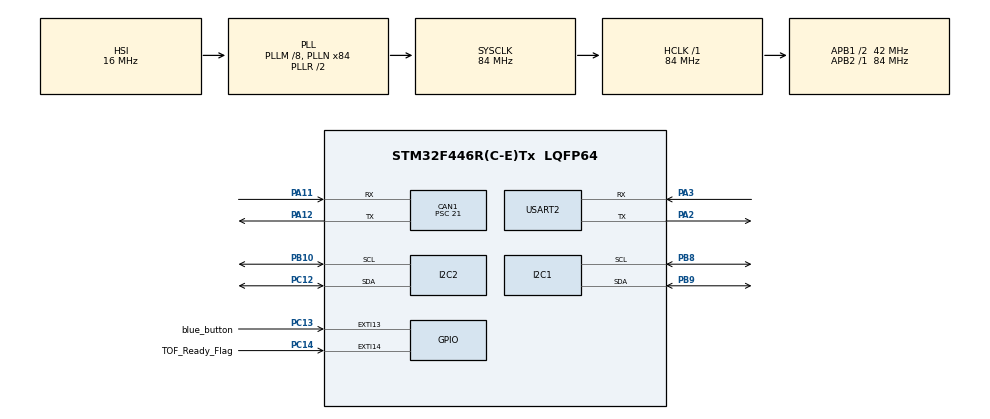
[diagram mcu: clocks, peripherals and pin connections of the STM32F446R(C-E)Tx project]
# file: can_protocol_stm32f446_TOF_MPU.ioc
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CAN1.BS1=CAN_BS1_14TQ
CAN1.BS2=CAN_BS2_5TQ
CAN1.CalculateBaudRate=100000
CAN1.CalculateTimeBit=10000
CAN1.CalculateTimeQuantum=500.0
CAN1.NART=ENABLE
CAN1.Prescaler=21
I2C1.I2C_Mode=I2C_Standard
I2C1.NoStretchMode=I2C_NOSTRETCH_DISABLE
I2C1.OwnAddress=0
Mcu.Family=STM32F4
Mcu.Name=STM32F446R(C-E)Tx
Mcu.Package=LQFP64
NVIC.CAN1_RX0_IRQn=true\:0\:0\:false\:false\:true\:true\:true\:true
NVIC.EXTI15_10_IRQn=true\:0\:0\:false\:false\:true\:true\:true\:true
NVIC.I2C1_EV_IRQn=true\:0\:0\:false\:false\:true\:true\:true\:true
NVIC.PriorityGroup=NVIC_PRIORITYGROUP_4
PA11.Mode=CAN_Activate
PA11.Signal=CAN1_RX
PA12.Mode=CAN_Activate
PA12.Signal=CAN1_TX
PA2.Mode=Asynchronous
PA2.Signal=USART2_TX
PA3.Mode=Asynchronous
PA3.Signal=USART2_RX
PB10.Mode=I2C
PB10.Signal=I2C2_SCL
PB8.Mode=I2C
PB8.Signal=I2C1_SCL
PB9.Mode=I2C
PB9.Signal=I2C1_SDA
PC12.Mode=I2C
PC12.Signal=I2C2_SDA
PC13.GPIO_Label=blue_button
PC13.GPIO_ModeDefaultEXTI=GPIO_MODE_IT_FALLING
PC13.GPIO_PuPd=GPIO_PULLUP
PC13.Signal=GPXTI13
PC14-OSC32_IN.GPIO_Label=TOF_Ready_Flag
PC14-OSC32_IN.GPIO_ModeDefaultEXTI=GPIO_MODE_IT_FALLING
PC14-OSC32_IN.GPIO_PuPd=GPIO_NOPULL
PC14-OSC32_IN.Signal=GPXTI14
ProjectManager.HeapSize=0x200
ProjectManager.StackSize=0x400
ProjectManager.TargetToolchain=STM32CubeIDE
RCC.AHBFreq_Value=84000000
RCC.APB1CLKDivider=RCC_HCLK_DIV2
RCC.APB1Freq_Value=42000000
RCC.APB1TimFreq_Value=84000000
RCC.APB2Freq_Value=84000000
RCC.APB2TimFreq_Value=84000000
RCC.CortexFreq_Value=84000000
RCC.HCLKFreq_Value=84000000
RCC.PLLM=8
RCC.PLLN=84
RCC.SYSCLKFreq_VALUE=84000000
RCC.SYSCLKSource=RCC_SYSCLKSOURCE_PLLRCLK
RCC.USBFreq_Value=84000000
RCC.VCOOutputFreq_Value=168000000
USART2.VirtualMode=VM_ASYNC
board=custom

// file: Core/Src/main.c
/* USER CODE BEGIN Header */
/**
  ******************************************************************************
  * @file           : main.c
  * @brief          : Main program body
  ******************************************************************************
  * @attention
  *
  * Copyright (c) 2025 STMicroelectronics.
  * All rights reserved.
  *
  * This software is licensed under terms that can be found in the LICENSE file
  * in the root directory of this software component.
  * If no LICENSE file comes with this software, it is provided AS-IS.
  *
  ******************************************************************************
  */
/* USER CODE END Header */
#include "main.h"

/* USER CODE BEGIN Includes */
#include <stdio.h>
#include <math.h>
#include "vl53l0x_api.h"
#include "vl53l0x_platform.h"
#include "MPU9250.h"
/* USER CODE END Includes */

/* USER CODE BEGIN PD */
#ifdef __GNUC__
/* With GCC, small printf (option LD Linker->Libraries->Small printf
   set to 'Yes') calls __io_putchar() */
#define PUTCHAR_PROTOTYPE int __io_putchar(int ch)
#else
#define PUTCHAR_PROTOTYPE int fputc(int ch, FILE *f)
#endif /* __GNUC__ */

#define TOF_CAN_THRESH_MM   145
#define TOF_MODE CONTINUOUS

#define MAG_CAN_THRESH_uT   1000   // 트립 임계값
#define MAG_CAN_HYST_uT      900   // 히스테리시스(재무장 임계값)
/* USER CODE END PD */

CAN_HandleTypeDef hcan1;

I2C_HandleTypeDef hi2c1;
I2C_HandleTypeDef hi2c2;

UART_HandleTypeDef huart2;

/* USER CODE BEGIN PV */

/* can 통신 변수 */
CAN_FilterTypeDef canFilter1;
CAN_RxHeaderTypeDef canRxHeader;
CAN_TxHeaderTypeDef canTxHeader;
uint8_t can1Rx0Data[8];
uint32_t TxMailBox;
uint8_t can1Tx0Data[8];
volatile int button_flag = 0;
volatile int can1_rx0_flag = 0;
static VL53L0X_Dev_t tof;
uint32_t refSpadCount = 0;
uint8_t  isAperture   = 0;

/* TOF 센서 변수 */
#ifdef TOF_MODE
	static volatile uint16_t g_last_dist_mm = 0; // 연속 모드 변수
#else
	static VL53L0X_RangingMeasurementData_t meas; // 싱글모드 변수
#endif
static volatile int16_t g_tof_offset_mm = 45; // 거리 측정 센서 오차

/* mpu센서 변수 */
MPU9250_t mpu;              // MPU9250 핸들
static float mag_off_x = 0; // 간이 하드아이언 오프셋(초기 0)
static float mag_off_y = 0;
static uint8_t g_mag_sent = 0;     // 0: 대기, 1: 이미 보냄(히스테리시스 내릴 때까지 잠금)

/* USER CODE END PV */

void SystemClock_Config(void);
static void MX_GPIO_Init(void);
static void MX_CAN1_Init(void);
static void MX_USART2_UART_Init(void);
static void MX_I2C1_Init(void);
static void MX_I2C2_Init(void);
/* USER CODE BEGIN PFP */

#ifdef TOF_MODE // 연속 모드
	void TOF_CONTINUOUS_Init(void);
	static inline void TOF_ReadOnce(void);
#else // 싱글 모드
	void TOF_SINGLE_Init(void);
#endif

static inline void CAN_SendMag(uint16_t b_uT);
/* USER CODE END PFP */

/* USER CODE BEGIN 0 */
static float heading_deg_from_magnet(float mx, float my)
{
  float hdg = atan2f(my, mx) * 180.0f / 3.1415926f; // atan2f 대용 함수 쓰면 atan2f로 교체
  if (hdg < 0) hdg += 360.0f;
  return hdg;
}
/* USER CODE END 0 */

int main(void)
{

  /* MCU Configuration--------------------------------------------------------*/

  /* Reset of all peripherals, Initializes the Flash interface and the Systick. */
  HAL_Init();

  /* Configure the system clock */
  SystemClock_Config();

  /* Initialize all configured peripherals */
  MX_GPIO_Init();
  MX_CAN1_Init();
  MX_USART2_UART_Init();
  MX_I2C1_Init();
  MX_I2C2_Init();
  /* USER CODE BEGIN 2 */

  /* 필터 쌍이 2개임. 의미는 없어서 같게 설정함. */
//  canFilter1.FilterMaskIdHigh = 0x7F3 << 5;
//  canFilter1.FilterIdHigh = 0x106 << 5; // 시프트 이유는 레지스터를 참고
//  canFilter1.FilterMaskIdLow = 0x7F3 << 5;
//  canFilter1.FilterIdLow = 0x106 << 5;
//
//  canFilter1.FilterMode = CAN_FILTERMODE_IDMASK;
//  canFilter1.FilterScale = CAN_FILTERSCALE_16BIT;
//  canFilter1.FilterFIFOAssignment = CAN_FILTER_FIFO0;
//
//  canFilter1.SlaveStartFilterBank = 0; // 필터를 통과한 ID가 저장될 곳.
//
//  HAL_CAN_ConfigFilter(&hcan1, &canFilter1); // can id filter setting
//  HAL_CAN_ActivateNotification(&hcan1, CAN_IT_RX_FIFO0_MSG_PENDING); // 메시지가 들어오면 인터럽트 발생.
//
//  HAL_CAN_Start(&hcan1);

  CAN_FilterTypeDef f = {0};
  f.FilterBank = 0;
  f.FilterMode = CAN_FILTERMODE_IDMASK;
  f.FilterScale = CAN_FILTERSCALE_32BIT;

  // 표준 ID는 High 레지스터에 << 5 해서 넣음
  f.FilterIdHigh     = (0x000A << 5);    // 수신 ID = 0x0A
  f.FilterIdLow      = 0x0000;           // IDE=0, RTR=0
  f.FilterMaskIdHigh = (0x07FF << 5);    // 11비트 모두 비교
  f.FilterMaskIdLow  = 0x0000;

  f.FilterFIFOAssignment = CAN_FILTER_FIFO0;
  f.FilterActivation = ENABLE;
  f.SlaveStartFilterBank = 14;           // (듀얼 CAN이면 경계값, 단일이면 무시)
  HAL_CAN_ConfigFilter(&hcan1, &f);

  HAL_CAN_Start(&hcan1);
  // 수신 FIFO0 메시지 도착 인터럽트만 활성화 (에러/경고 알림은 잠깐 비활성)
  HAL_CAN_ActivateNotification(&hcan1, CAN_IT_RX_FIFO0_MSG_PENDING);

  /* 거리 측정 센서 초기화 */
#ifdef TOF_MODE
  TOF_CONTINUOUS_Init(); /* 연속 모드 초기화 */
#else
  TOF_SINGLE_Init(); /* 싱글 모드 초기화 */
#endif

//  /* MPU 센서 초기화 */
  if (MPU9250_Init(&mpu, MPU9250_Device_0, ACCEL_SCALE_2G, GYRO_SCALE_250dps, MAG_SCALE_16bit) != MPU9250_RESULT_OK)
  {
    printf("MPU9250 init FAILED\r\n");
  }
  else
  {
	  printf("MPU9250 init OK\r\n");
  }

  printf("main start()!!\r\n");

  /* 테스트 코드 */
#if 0// ---- AK8963 / BYPASS 확인용 빠른 진단 ----
  uint8_t mpu_who=0, int_cfg=0, ak_wia=0, ak_cntl1=0;

  HAL_I2C_Mem_Read(&hi2c2, (0x68<<1), 0x75, I2C_MEMADD_SIZE_8BIT, &mpu_who, 1, 100);  // MPU WHO_AM_I
  HAL_I2C_Mem_Read(&hi2c2, (0x68<<1), 0x37, I2C_MEMADD_SIZE_8BIT, &int_cfg,  1, 100); // INT_PIN_CFG
  HAL_I2C_Mem_Read(&hi2c2, (0x0C<<1), 0x00, I2C_MEMADD_SIZE_8BIT, &ak_wia,   1, 100); // AK8963 WIA
  HAL_I2C_Mem_Read(&hi2c2, (0x0C<<1), 0x0A, I2C_MEMADD_SIZE_8BIT, &ak_cntl1, 1, 100); // AK8963 CNTL1

  printf("MPU WHO_AM_I=0x%02X (expect 0x71)\r\n", mpu_who);
  printf("INT_PIN_CFG =0x%02X (BYPASS_EN bit1 should be 1)\r\n", int_cfg);
  printf("AK8963 WIA  =0x%02X (expect 0x48)\r\n", ak_wia);
  printf("AK8963 CNTL1=0x%02X (0x12=16bit cont1, 0x16=16bit cont2)\r\n", ak_cntl1);
#endif

  /* USER CODE END 2 */

  /* Infinite loop */
  /* USER CODE BEGIN WHILE */
  while (1)
  {
#if 0	  /* 싱글모드 연속 동작 코드 */
//	  static uint32_t t0;
//	  if (HAL_GetTick() - t0 >= 250)
//	  {
//	      t0 = HAL_GetTick();
//	      VL53L0X_RangingMeasurementData_t m;
//	      VL53L0X_Error e = VL53L0X_PerformSingleRangingMeasurement(&tof, &m);
//	      if (!e)
//	      {
//	          printf("dist=%4u mm status=%u\r\n", (unsigned)m.RangeMilliMeter, (unsigned)m.RangeStatus);
//	      }
//	      else
//	      {
//	          printf("ranging error=%d\r\n", e);
//	      }
//	  }
#endif
	  uint8_t ready = 0;
	  if (VL53L0X_GetMeasurementDataReady(&tof, &ready) == VL53L0X_ERROR_NONE && ready) {
	      TOF_ReadOnce();              // 여기서 ClearInterruptMask() 해줌
	  }
#if 1
		MPU9250_Result_t r = MPU9250_ReadMag(&mpu);
		if (r == MPU9250_RESULT_OK) {
			float mx = (float)mpu.mag_raw[0] * mpu.magMult;
			float my = (float)mpu.mag_raw[1] * mpu.magMult;
			float mz = (float)mpu.mag_raw[2] * mpu.magMult;

			// |B| 계산
			float B_mag = sqrtf(mx*mx + my*my + mz*mz);

			printf("Mag(uT) X:%.2f Y:%.2f Z:%.2f \r\n", mx, my, mz);
			printf("|B| = %.1f (uT) \r\n", B_mag);

			uint16_t B_uT_u16 = (B_mag <= 0) ? 0 : (B_mag > 65535.0f ? 65535 : (uint16_t)(B_mag + 0.5f));

			if (!g_mag_sent && B_uT_u16 >= MAG_CAN_THRESH_uT) {
			    CAN_SendMag(B_uT_u16);   // 0x103 송신
			    g_mag_sent = 1;          // 락
			} else if (g_mag_sent && B_uT_u16 <= MAG_CAN_HYST_uT) {
			    g_mag_sent = 0;          // 재무장
			}
		}
		HAL_Delay(50);
#endif
	  if(button_flag)
	  {
		  printf("push button!!\r\n");
		  button_flag = 0;

		  canTxHeader.StdId = 0x102;
		  canTxHeader.RTR = CAN_RTR_DATA;
		  canTxHeader.IDE = CAN_ID_STD;
		  canTxHeader.DLC = 8;

		  for(int i=0; i<8; i++)
		  {
			  can1Tx0Data[i]++;
		  }

		  TxMailBox = HAL_CAN_GetTxMailboxesFreeLevel(&hcan1); // 비어있는 메일 박스 번호를 리턴
		  HAL_CAN_AddTxMessage(&hcan1, &canTxHeader, &can1Tx0Data, &TxMailBox); // 비어있는 메일 박스에 데이터를 채움.
	  }
	  if(can1_rx0_flag)
	  {
		  can1_rx0_flag = 0;
		  printf("receive\r\n");
		  for(int i=0; i<8; i++)
		  {
			  printf("%s ",can1Rx0Data[i]);
		  }
		  printf("\r\n");
	  }
    /* USER CODE END WHILE */

  }
}

void SystemClock_Config(void)
{
  RCC_OscInitTypeDef RCC_OscInitStruct = {0};
  RCC_ClkInitTypeDef RCC_ClkInitStruct = {0};

  /** Configure the main internal regulator output voltage
  */
  __HAL_RCC_PWR_CLK_ENABLE();
  __HAL_PWR_VOLTAGESCALING_CONFIG(PWR_REGULATOR_VOLTAGE_SCALE3);

  /** Initializes the RCC Oscillators according to the specified parameters
  * in the RCC_OscInitTypeDef structure.
  */
  RCC_OscInitStruct.OscillatorType = RCC_OSCILLATORTYPE_HSI;
  RCC_OscInitStruct.HSIState = RCC_HSI_ON;
  RCC_OscInitStruct.HSICalibrationValue = RCC_HSICALIBRATION_DEFAULT;
  RCC_OscInitStruct.PLL.PLLState = RCC_PLL_ON;
  RCC_OscInitStruct.PLL.PLLSource = RCC_PLLSOURCE_HSI;
  RCC_OscInitStruct.PLL.PLLM = 8;
  RCC_OscInitStruct.PLL.PLLN = 84;
  RCC_OscInitStruct.PLL.PLLP = RCC_PLLP_DIV2;
  RCC_OscInitStruct.PLL.PLLQ = 2;
  RCC_OscInitStruct.PLL.PLLR = 2;
  if (HAL_RCC_OscConfig(&RCC_OscInitStruct) != HAL_OK)
  {
    Error_Handler();
  }

  /** Initializes the CPU, AHB and APB buses clocks
  */
  RCC_ClkInitStruct.ClockType = RCC_CLOCKTYPE_HCLK|RCC_CLOCKTYPE_SYSCLK
                              |RCC_CLOCKTYPE_PCLK1|RCC_CLOCKTYPE_PCLK2;
  RCC_ClkInitStruct.SYSCLKSource = RCC_SYSCLKSOURCE_PLLRCLK;
  RCC_ClkInitStruct.AHBCLKDivider = RCC_SYSCLK_DIV1;
  RCC_ClkInitStruct.APB1CLKDivider = RCC_HCLK_DIV2;
  RCC_ClkInitStruct.APB2CLKDivider = RCC_HCLK_DIV1;

  if (HAL_RCC_ClockConfig(&RCC_ClkInitStruct, FLASH_LATENCY_2) != HAL_OK)
  {
    Error_Handler();
  }
}

static void MX_CAN1_Init(void)
{

  hcan1.Instance = CAN1;
  hcan1.Init.Prescaler = 21;
  hcan1.Init.Mode = CAN_MODE_NORMAL;
  hcan1.Init.SyncJumpWidth = CAN_SJW_1TQ;
  hcan1.Init.TimeSeg1 = CAN_BS1_14TQ;
  hcan1.Init.TimeSeg2 = CAN_BS2_5TQ;
  hcan1.Init.TimeTriggeredMode = DISABLE;
  hcan1.Init.AutoBusOff = DISABLE;
  hcan1.Init.AutoWakeUp = DISABLE;
  hcan1.Init.AutoRetransmission = ENABLE;
  hcan1.Init.ReceiveFifoLocked = DISABLE;
  hcan1.Init.TransmitFifoPriority = DISABLE;
  if (HAL_CAN_Init(&hcan1) != HAL_OK)
  {
    Error_Handler();
  }

}

static void MX_I2C1_Init(void)
{

  hi2c1.Instance = I2C1;
  hi2c1.Init.ClockSpeed = 100000;
  hi2c1.Init.DutyCycle = I2C_DUTYCYCLE_2;
  hi2c1.Init.OwnAddress1 = 0;
  hi2c1.Init.AddressingMode = I2C_ADDRESSINGMODE_7BIT;
  hi2c1.Init.DualAddressMode = I2C_DUALADDRESS_DISABLE;
  hi2c1.Init.OwnAddress2 = 0;
  hi2c1.Init.GeneralCallMode = I2C_GENERALCALL_DISABLE;
  hi2c1.Init.NoStretchMode = I2C_NOSTRETCH_DISABLE;
  if (HAL_I2C_Init(&hi2c1) != HAL_OK)
  {
    Error_Handler();
  }

}

static void MX_I2C2_Init(void)
{

  hi2c2.Instance = I2C2;
  hi2c2.Init.ClockSpeed = 100000;
  hi2c2.Init.DutyCycle = I2C_DUTYCYCLE_2;
  hi2c2.Init.OwnAddress1 = 0;
  hi2c2.Init.AddressingMode = I2C_ADDRESSINGMODE_7BIT;
  hi2c2.Init.DualAddressMode = I2C_DUALADDRESS_DISABLE;
  hi2c2.Init.OwnAddress2 = 0;
  hi2c2.Init.GeneralCallMode = I2C_GENERALCALL_DISABLE;
  hi2c2.Init.NoStretchMode = I2C_NOSTRETCH_DISABLE;
  if (HAL_I2C_Init(&hi2c2) != HAL_OK)
  {
    Error_Handler();
  }

}

static void MX_USART2_UART_Init(void)
{

  huart2.Instance = USART2;
  huart2.Init.BaudRate = 115200;
  huart2.Init.WordLength = UART_WORDLENGTH_8B;
  huart2.Init.StopBits = UART_STOPBITS_1;
  huart2.Init.Parity = UART_PARITY_NONE;
  huart2.Init.Mode = UART_MODE_TX_RX;
  huart2.Init.HwFlowCtl = UART_HWCONTROL_NONE;
  huart2.Init.OverSampling = UART_OVERSAMPLING_16;
  if (HAL_UART_Init(&huart2) != HAL_OK)
  {
    Error_Handler();
  }

}

static void MX_GPIO_Init(void)
{
  GPIO_InitTypeDef GPIO_InitStruct = {0};

  /* GPIO Ports Clock Enable */
  __HAL_RCC_GPIOC_CLK_ENABLE();
  __HAL_RCC_GPIOA_CLK_ENABLE();
  __HAL_RCC_GPIOB_CLK_ENABLE();

  /*Configure GPIO pin : blue_button_Pin */
  GPIO_InitStruct.Pin = blue_button_Pin;
  GPIO_InitStruct.Mode = GPIO_MODE_IT_FALLING;
  GPIO_InitStruct.Pull = GPIO_PULLUP;
  HAL_GPIO_Init(blue_button_GPIO_Port, &GPIO_InitStruct);

  /*Configure GPIO pin : TOF_Ready_Flag_Pin */
  GPIO_InitStruct.Pin = TOF_Ready_Flag_Pin;
  GPIO_InitStruct.Mode = GPIO_MODE_IT_FALLING;
  GPIO_InitStruct.Pull = GPIO_NOPULL;
  HAL_GPIO_Init(TOF_Ready_Flag_GPIO_Port, &GPIO_InitStruct);

  /* EXTI interrupt init*/
  HAL_NVIC_SetPriority(EXTI15_10_IRQn, 0, 0);
  HAL_NVIC_EnableIRQ(EXTI15_10_IRQn);

}

/* USER CODE BEGIN 4 */

#ifdef TOF_MODE
	void TOF_CONTINUOUS_Init(void)
	{
		uint8_t id=0;
		VL53L0X_Error px = VL53L0X_RdByte(&tof, 0xC0, &id);  // module ID 근처
		printf("Ping=%d id=0x%02X\r\n", px, id);

		VL53L0X_Error st;
		uint8_t vhv = 0, phase = 0;

		HAL_Delay(10);
		tof.I2cDevAddr      = 0x29;   // 7-bit
		tof.comms_type      = 1;      // I2C
		tof.comms_speed_khz = 400;    // 정보용(실제 속도는 MX_I2C1_Init 설정)

		st = VL53L0X_WaitDeviceBooted(&tof);                       printf("Boot=%d\r\n", st);
		st = VL53L0X_DataInit(&tof);                               printf("DataInit=%d\r\n", st);
		st = VL53L0X_StaticInit(&tof);                             printf("StaticInit=%d\r\n", st);

		st = VL53L0X_PerformRefSpadManagement(&tof, &refSpadCount, &isAperture);
																   printf("SPAD=%d count=%lu aperture=%u\r\n",
																		  st, (unsigned long)refSpadCount, isAperture);
		st = VL53L0X_PerformRefCalibration(&tof, &vhv, &phase);    printf("RefCal=%d (vhv=%u,phase=%u)\r\n",
																		  st, vhv, phase);

		st = VL53L0X_SetMeasurementTimingBudgetMicroSeconds(&tof, 200000);
																   printf("Budget=%d\r\n", st);
		st = VL53L0X_SetInterMeasurementPeriodMilliSeconds(&tof, 250);
																   printf("InterMeas=%d\r\n", st);

		st = VL53L0X_SetGpioConfig(&tof, 0,
				VL53L0X_DEVICEMODE_CONTINUOUS_RANGING,
				VL53L0X_GPIOFUNCTIONALITY_NEW_MEASURE_READY,
				VL53L0X_INTERRUPTPOLARITY_LOW);                    printf("GpioCfg=%d\r\n", st);

		st = VL53L0X_ClearInterruptMask(&tof, 0);                  printf("ClearInt=%d\r\n", st);

		st = VL53L0X_SetDeviceMode(&tof, VL53L0X_DEVICEMODE_CONTINUOUS_RANGING);
																   printf("DevMode=%d\r\n", st);
		st = VL53L0X_StartMeasurement(&tof);                       printf("Start=%d\r\n", st);
	}
#else
	void TOF_SINGLE_Init(void)
	{
		  HAL_Delay(10);   // 전원/리셋 후 부팅 대기
		  tof.I2cDevAddr = 0x29; // 7-bit
		  tof.comms_type = 1; // I2C
		  tof.comms_speed_khz = 400;

		  VL53L0X_Error st;
		  st = VL53L0X_WaitDeviceBooted(&tof);
		  printf("Boot=%d\r\n", st);
		  st = VL53L0X_DataInit(&tof);
		  printf("DataInit=%d\r\n", st);
		  st = VL53L0X_StaticInit(&tof);
		  printf("StaticInit=%d\r\n", st);

		  // 캘리브레이션(권장)
		  st = VL53L0X_PerformRefSpadManagement(&tof, &refSpadCount, &isAperture);
		  printf("SPAD=%d count=%lu aperture=%u\r\n", st, (unsigned long)refSpadCount, isAperture);
		  uint8_t vhv=0, phase=0;
		  st = VL53L0X_PerformRefCalibration(&tof, &vhv, &phase);
		  printf("RefCal=%d (vhv=%u,phase=%u)\r\n", st, vhv, phase);

		  // 타이밍 버짓
		  st = VL53L0X_SetMeasurementTimingBudgetMicroSeconds(&tof, 200000);
		  printf("Budget=%d\r\n", st);
		  if (VL53L0X_PerformSingleRangingMeasurement(&tof, &meas) == VL53L0X_ERROR_NONE)
		  {
		      printf("dist=%u mm, status=%u\r\n", (unsigned)meas.RangeMilliMeter, (unsigned)meas.RangeStatus);
		  }
		  else
		  {
		      printf("single ranging failed\r\n");
		  }
	}
#endif

PUTCHAR_PROTOTYPE
{
  /* Place your implementation of fputc here */
  /* e.g. write a character to the USART6 and Loop until the end of transmission */
  HAL_UART_Transmit(&huart2, (uint8_t *)&ch, 1, 0xFFFF);

  return ch;
}

void HAL_CAN_RxFifo0MsgPendingCallback(CAN_HandleTypeDef* hcan)
{
    CAN_RxHeaderTypeDef rxh;
    uint8_t d[8];

    while (HAL_CAN_GetRxFifoFillLevel(hcan, CAN_RX_FIFO0) > 0) {
        if (HAL_CAN_GetRxMessage(hcan, CAN_RX_FIFO0, &rxh, d) == HAL_OK) {
            // 표준/확장 구분
            if (rxh.IDE == CAN_ID_STD) {
                printf("RX std 0x%03lX DLC=%d : ", rxh.StdId, rxh.DLC);
            } else {
                printf("RX ext 0x%08lX DLC=%d : ", rxh.ExtId, rxh.DLC);
            }
            // DLC 만큼만 HEX로
            for (uint32_t i=0; i<rxh.DLC && i<8; ++i) printf("%02X ", d[i]);
            printf("\r\n");
        } else {
            // 읽기 실패 시 탈출(무한루프 방지)
            break;
        }
    }
}

void HAL_GPIO_EXTI_Callback(uint16_t GPIO_Pin)
{
	if (GPIO_Pin == GPIO_PIN_13)
	{
		button_flag = 1;
	}
	else if (GPIO_Pin == GPIO_PIN_14)
	{
		TOF_ReadOnce();
	}

}

// --- 추가: VL53L0X 거리(mm) 2바이트(빅엔디언)로 CAN 송신 ---
static inline void CAN_SendVL53(uint16_t dist_mm)
{
    CAN_TxHeaderTypeDef txh = {0};
    txh.StdId  = 0x102;               // 필요 시 0x100 등으로 바꿔도 됨(수신측과 맞추기)
    txh.IDE    = CAN_ID_STD;
    txh.RTR    = CAN_RTR_DATA;
    txh.DLC    = 2;

    uint8_t data[2];
    data[0] = (uint8_t)(dist_mm >> 8);    // MSB
    data[1] = (uint8_t)(dist_mm & 0xFF);  // LSB

    if (HAL_CAN_GetTxMailboxesFreeLevel(&hcan1) > 0) {
        uint32_t mailbox;
        (void)HAL_CAN_AddTxMessage(&hcan1, &txh, data, &mailbox);
    }
}

static inline void CAN_SendMag(uint16_t b_uT)
{
    CAN_TxHeaderTypeDef txh = {0};
    txh.StdId  = 0x103;            // 요구사항: 자력 이벤트는 0x103으로 송신
    txh.IDE    = CAN_ID_STD;
    txh.RTR    = CAN_RTR_DATA;
    txh.DLC    = 2;                // |B| (uT) 2바이트로 전송

    uint8_t data[2];
    if (b_uT > 65535) b_uT = 65535;
    data[0] = (uint8_t)(b_uT >> 8);    // MSB
    data[1] = (uint8_t)(b_uT & 0xFF);  // LSB

    if (HAL_CAN_GetTxMailboxesFreeLevel(&hcan1) > 0) {
        uint32_t mailbox;
        (void)HAL_CAN_AddTxMessage(&hcan1, &txh, data, &mailbox);
    }
}

static inline void TOF_ReadOnce(void)
{
    VL53L0X_RangingMeasurementData_t m;
    if (VL53L0X_GetRangingMeasurementData(&tof, &m) == VL53L0X_ERROR_NONE) {

        g_last_dist_mm = (uint16_t)m.RangeMilliMeter;

        // 유효 측정(status==0) && 임계값 이하면 CAN 송신
        if (m.RangeStatus == 0 && g_last_dist_mm <= TOF_CAN_THRESH_MM) {
            CAN_SendVL53(g_last_dist_mm - g_tof_offset_mm);
        }

        // (선택) 디버그
        printf("dist=%u mm (status=%u)\r\n",
               (unsigned)g_last_dist_mm - g_tof_offset_mm , (unsigned)m.RangeStatus);

        // 다음 측정을 위해 반드시 클리어
        VL53L0X_ClearInterruptMask(&tof, 0);
    }
}
/* USER CODE END 4 */

void Error_Handler(void)
{
  __disable_irq();
  while (1)
  {
  }
}
